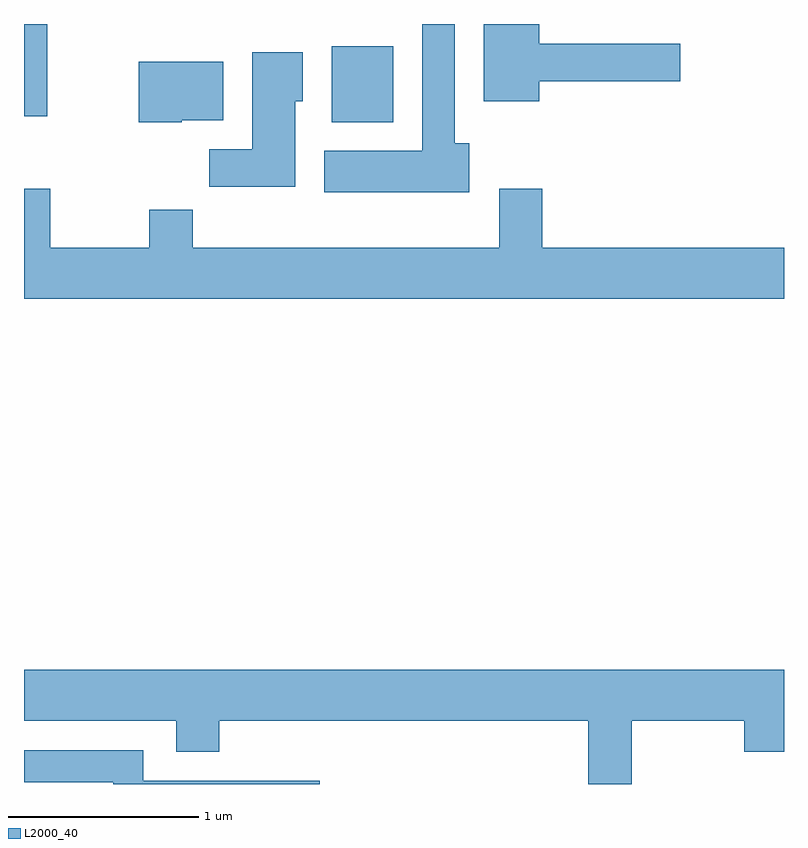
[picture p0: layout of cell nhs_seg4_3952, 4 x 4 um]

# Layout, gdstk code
import gdstk
lib = gdstk.Library(unit=1e-6, precision=1e-09)
def R(c, l, rs):  # rectangles x0, y0, x1, y1
    for r in rs: c.add(gdstk.rectangle(r[:2], r[2:], *l))
def P(c, l, *ps):  # polygons
    for p in ps: c.add(gdstk.Polygon(p, *l))
L2000_40 = (2000, 40)

nhs_seg4_3952 = lib.new_cell('nhs_seg4_3952')
R(nhs_seg4_3952, L2000_40, [(303.231,1273.466,303.554,1273.864), (301.611,1273.496,301.734,1273.982)])
P(nhs_seg4_3952, L2000_40, [(303.954,1273.354),(303.879,1273.354),(303.879,1273.982),(303.706,1273.982),(303.706,1273.314),(303.191,1273.314),(303.191,1273.096),(303.954,1273.096)],
  [(304.324,1273.681),(305.064,1273.681),(305.064,1273.879),(304.324,1273.879),(304.324,1273.982),(304.031,1273.982),(304.031,1273.576),(304.324,1273.576)],
  [(303.039,1273.576),(303.079,1273.576),(303.079,1273.834),(302.811,1273.834),(302.811,1273.324),(302.586,1273.324),(302.586,1273.126),(303.039,1273.126)],
  [(302.44,1273.476),(302.659,1273.476),(302.659,1273.784),(302.216,1273.784),(302.216,1273.466),(302.44,1273.466)],
  [(305.611,1272.804),(304.339,1272.804),(304.339,1273.114),(304.111,1273.114),(304.111,1272.804),(302.499,1272.804),(302.499,1273.004),(302.271,1273.004),(302.271,1272.804),(301.749,1272.804),(301.749,1273.114),(301.611,1273.114),(301.611,1272.536),(305.611,1272.536)],
  [(304.809,1270.316),(305.401,1270.316),(305.401,1270.151),(305.611,1270.151),(305.611,1270.584),(301.611,1270.584),(301.611,1270.316),(302.411,1270.316),(302.411,1270.151),(302.639,1270.151),(302.639,1270.316),(304.581,1270.316),(304.581,1269.982),(304.809,1269.982)],
  [(303.168,1269.999),(302.239,1269.999),(302.239,1270.159),(301.611,1270.159),(301.611,1269.991),(302.081,1269.991),(302.081,1269.982),(303.168,1269.982)])

lib.write_gds('nhs_seg4_3952.gds')
